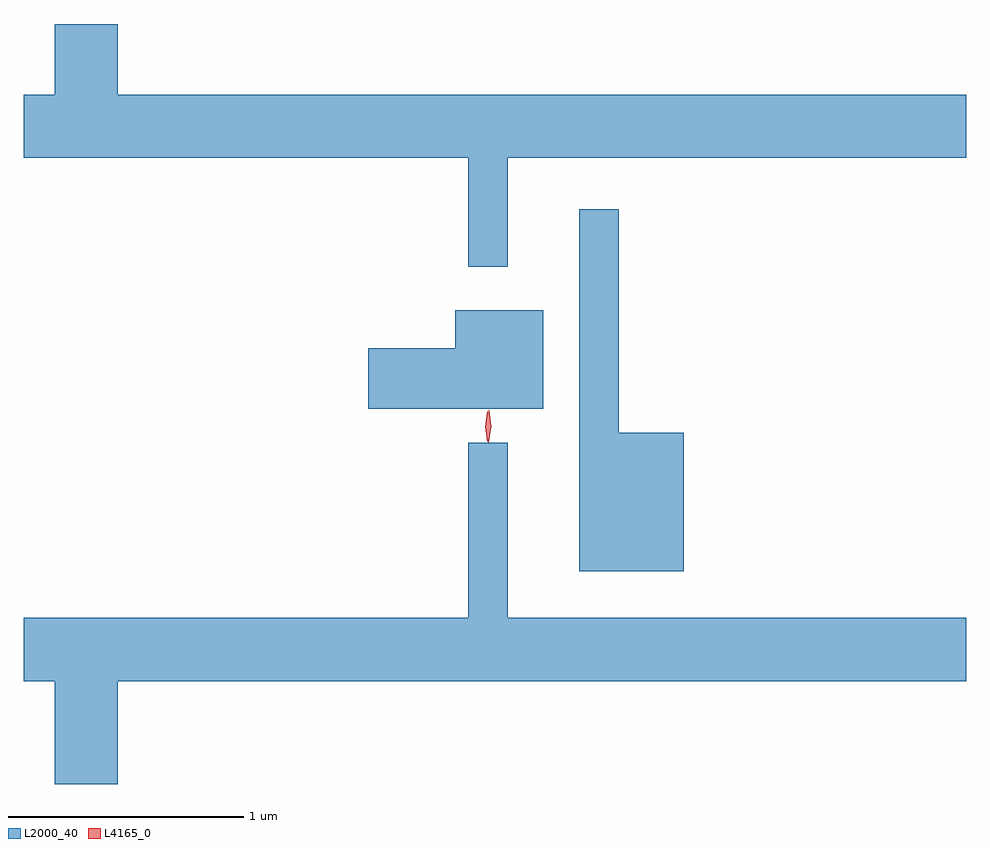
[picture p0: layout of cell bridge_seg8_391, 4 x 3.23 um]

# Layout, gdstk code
import gdstk
lib = gdstk.Library(unit=1e-6, precision=1e-09)
def P(c, l, *ps):  # polygons
    for p in ps: c.add(gdstk.Polygon(p, *l))
L2000_40 = (2000, 40)
L4165_0 = (4165, 0)

bridge_seg8_391 = lib.new_cell('bridge_seg8_391')
P(bridge_seg8_391, L2000_40, [(776.439,1827.536),(778.384,1827.536),(778.384,1827.804),(774.784,1827.804),(774.784,1828.104),(774.516,1828.104),(774.516,1827.804),(774.384,1827.804),(774.384,1827.536),(776.271,1827.536),(776.271,1827.073),(776.439,1827.073)],
  [(777.184,1826.369),(776.909,1826.369),(776.909,1827.318),(776.741,1827.318),(776.741,1825.781),(777.184,1825.781)],
  [(776.589,1826.889),(776.216,1826.889),(776.216,1826.729),(775.846,1826.729),(775.846,1826.471),(776.589,1826.471)],
  [(774.784,1825.316),(778.384,1825.316),(778.384,1825.584),(776.439,1825.584),(776.439,1826.328),(776.271,1826.328),(776.271,1825.584),(774.384,1825.584),(774.384,1825.316),(774.516,1825.316),(774.516,1824.879),(774.784,1824.879)])
P(bridge_seg8_391, L4165_0, [(776.356,1826.33),(776.348,1826.398),(776.358,1826.465),(776.359,1826.466),(776.359,1826.465),(776.368,1826.398),(776.358,1826.33),(776.357,1826.33)],
  [(776.352,1826.333),(776.352,1826.333),(776.342,1826.396),(776.352,1826.459),(776.352,1826.46),(776.353,1826.459),(776.362,1826.396),(776.353,1826.333)])

lib.write_gds('bridge_seg8_391.gds')
